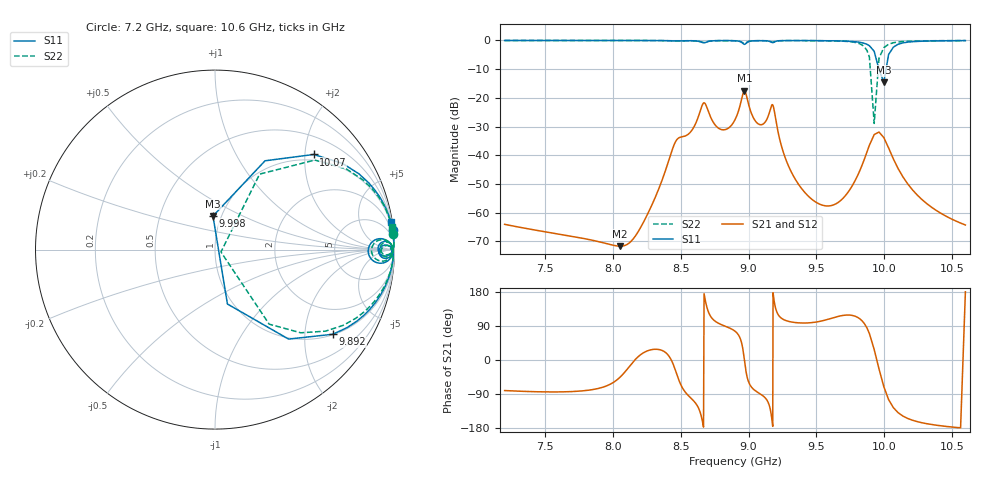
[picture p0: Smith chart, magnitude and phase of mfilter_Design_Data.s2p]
# MHz Y RI R 1
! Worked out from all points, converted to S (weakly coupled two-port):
!   525 points, 7.2 GHz to 10.6 GHz, reference 1 ohm
!   highest |S21| = -17.55 dB at 8.969 GHz (marker M1); lowest = -71.7 dB at 8.05 GHz (marker M2)
!   lowest |S11| = -14.5 dB at 9.998 GHz (marker M3), VSWR 1.46, Z = 0.912 + j0.354 ohm
!   |S11| at or under -10 dB: 9.962 GHz to 10.01 GHz (52.95 MHz wide, 0.53 % of centre)
!   |S22| runs from -28.9 to 0.0 dB; largest |S21 - S12| = 2.9e-17
!   S11 on the Smith chart (normalised r, x): 7.2 GHz: 0, +18; 9.892 GHz: 1.02, -2.77; 9.998 GHz: 0.91, +0.35; 10.07 GHz: 0.86, +2.19; 10.6 GHz: 1, +13
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7200  0.00157 -0.0561  -2e-05 0.000313  -2e-05 0.000313  0.0011 -0.0439
7766.667  0.00112 -0.03  -1.61e-05 0.00018  -1.61e-05 0.00018  0.000905 -0.0252
8050  0.00124 -0.0194  -8.73e-05 9.7e-05  -8.73e-05 9.7e-05  0.00104 -0.0169
8165.104  0.00147 -0.0148  -0.000197 -1.16e-07  -0.000197 -1.16e-07  0.00125 -0.0132
8337.269  0.00296 -0.00612  -0.00116 -0.000591  -0.00116 -0.000591  0.00255 -0.006
8459.259  0.0111 -0.00256  -0.0077 0.00383  -0.0077 0.00383  0.00962 -0.00306
8581.25  0.00673 0.00586  0.00293 0.0134  0.00293 0.0134  0.00591 0.00406
8667.824  0.0497 0.00182  0.0443 0.00231  0.0443 0.00231  0.0432 0.00028
8784.896  0.00412 -0.00437  0.0013 -0.0145  0.0013 -0.0145  0.00354 -0.00491
8900  0.00703 0.0189  -0.00438 -0.0206  -0.00438 -0.0206  0.00614 0.0153
8969.358  0.0845 0.00499  -0.0768 -0.000599  -0.0768 -0.000599  0.0738 0.00311
9075.116  0.0051 0.000285  -0.000916 0.0175  -0.000916 0.0175  0.00444 -0.00079
9178.414  0.0468 0.0054  0.0408 0.00385  0.0408 0.00385  0.0403 0.00401
9274.826  0.00378 0.0084  0.00111 -0.00412  0.00111 -0.00412  0.00337 0.00725
9466.667  0.00411 0.0364  0.000189 -0.000842  0.000189 -0.000842  0.00406 0.0339
9696.875  0.0129 0.0952  0.000575 -0.00072  0.000575 -0.00072  0.0159 0.0997
9838.542  0.05 0.2081  0.00254 -0.00324  0.00254 -0.00324  0.0999 0.2705
9891.667  0.1169 0.3181  0.00294 -0.0123  0.00294 -0.0123  0.3942 0.4448
9997.917  0.9524 -0.3693  0.00371 0.0245  0.00371 0.0245  0.1652 -0.3736
10068.75  0.1553 -0.395  0.00517 0.00222  0.00517 0.00222  0.0485 -0.2227
10210.42  0.026 -0.1795  0.00131 9.11e-05  0.00131 9.11e-05  0.0135 -0.1251
10600  0.00442 -0.0783  0.000305 -4.35e-05  0.000305 -4.35e-05  0.003 -0.063
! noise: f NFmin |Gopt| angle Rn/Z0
7200  18.59  0.9819  -140.8  223.8
8289  15.11  0.8387  -48.91  76.69
8424  7.756  0.5661  -7.442  5.211
8530  4.348  0.219  4.704  0.9175
8758  2.184  0.1392  6.143  0.3466
8944  2.017  0.1212  82.16  0.2559
9097  2.379  0.1063  83.12  0.3018
9223  4.139  0.3514  24.33  1.111
9415  15.97  0.8863  110.9  53.15
1.06e+04  27.46  0.9735  -151.4  632.8
